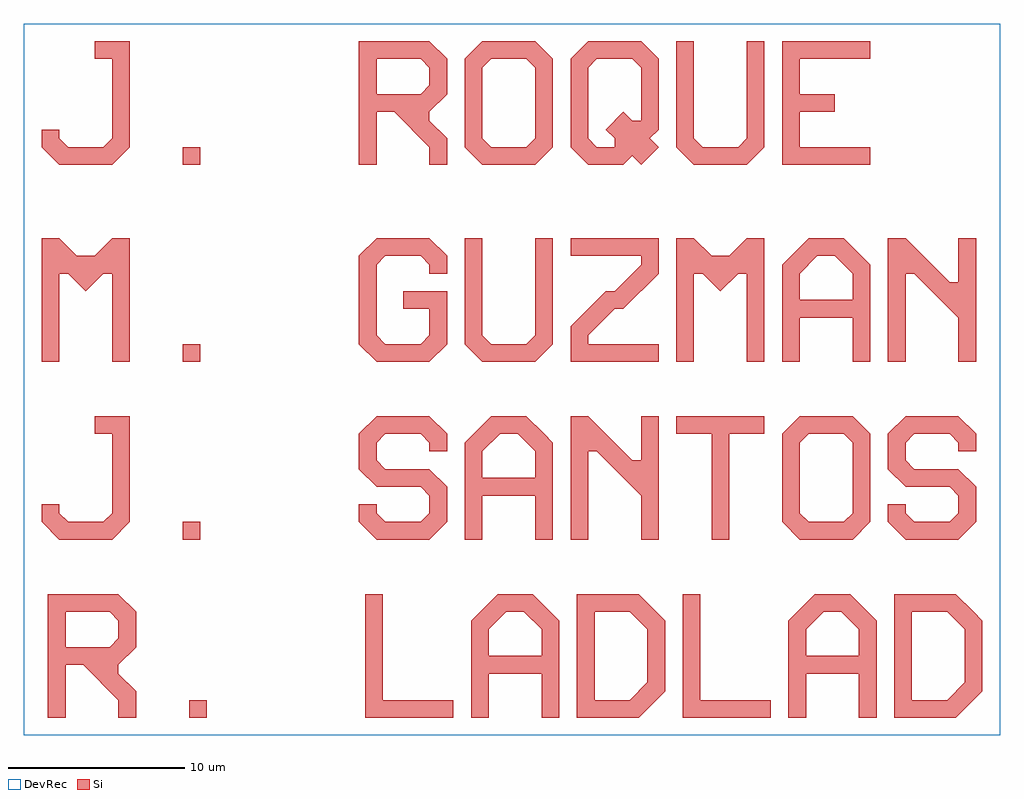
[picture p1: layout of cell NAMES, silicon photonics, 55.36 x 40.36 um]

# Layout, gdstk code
import gdstk
lib = gdstk.Library(unit=1e-6, precision=1e-09)
def R(c, l, rs):  # rectangles x0, y0, x1, y1
    for r in rs: c.add(gdstk.rectangle(r[:2], r[2:], *l))
def P(c, l, *ps):  # polygons
    for p in ps: c.add(gdstk.Polygon(p, *l))
Si = (1, 0)
DevRec = (68, 0)

names = lib.new_cell('NAMES')
R(names, Si, [(8.36,0,9.36,1), (8,10.1,9,11.1), (8,20.19,9,21.19), (8,31.36,9,32.36)])
P(names, Si, [(1,31.36),(0,32.36),(0,33.36),(1,33.36),(1,32.86),(1.5,32.36),(3.5,32.36),(4,32.86),(4,37.36),(3,37.36),(3,38.36),(5,38.36),(5,32.36),(4,31.36)],
  [(18,31.36),(18,38.36),(22,38.36),(23,37.36),(19,37.36),(19,35.36),(21.5,35.36),(22,35.86),(22,36.86),(21.5,37.36),(23,37.36),(23,35.36),(22,34.36),(22,33.86),(23,32.86),(23,31.36),(22,31.36),(22,32.36),(20,34.36),(19,34.36),(19,31.36)],
  [(25,31.36),(24,32.36),(24,37.36),(25,38.36),(28,38.36),(29,37.36),(29,34.86),(28,34.86),(28,36.86),(27.5,37.36),(25.5,37.36),(25,36.86),(25,32.86),(25.5,32.36),(27.5,32.36),(28,32.86),(28,34.86),(29,34.86),(29,32.36),(28,31.36)],
  [(31,31.36),(30,32.36),(30,37.36),(31,38.36),(34,38.36),(35,37.36),(31.5,37.36),(31,36.86),(31,32.86),(31.5,32.36),(32.5,32.36),(32.5,32.86),(32,33.36),(33,34.36),(33.5,33.86),(34,33.86),(34,36.86),(33.5,37.36),(35,37.36),(35,33.36),(34.5,32.86),(35,32.36),(34,31.36),(33.5,31.86),(33,31.36)],
  [(37,31.36),(36,32.36),(36,38.36),(37,38.36),(37,32.86),(37.5,32.36),(39.5,32.36),(40,32.86),(40,38.36),(41,38.36),(41,32.36),(40,31.36)],
  [(42,31.36),(42,38.36),(47,38.36),(47,37.36),(43,37.36),(43,35.36),(45,35.36),(45,34.36),(43,34.36),(43,32.36),(47,32.36),(47,31.36)],
  [(0,20.19),(0,27.19),(1,27.19),(2,26.19),(3,26.19),(4,27.19),(5,27.19),(5,20.19),(4,20.19),(4,25.19),(3.5,25.19),(2.5,24.19),(1.5,25.19),(1,25.19),(1,20.19)],
  [(19,20.19),(18,21.19),(18,26.19),(19,27.19),(22,27.19),(23,26.19),(23,25.19),(22,25.19),(22,25.69),(21.5,26.19),(19.5,26.19),(19,25.69),(19,21.69),(19.5,21.19),(21.5,21.19),(22,21.69),(22,23.19),(20.5,23.19),(20.5,24.19),(23,24.19),(23,21.19),(22,20.19)],
  [(25,20.19),(24,21.19),(24,27.19),(25,27.19),(25,21.69),(25.5,21.19),(27.5,21.19),(28,21.69),(28,27.19),(29,27.19),(29,21.19),(28,20.19)],
  [(30,20.19),(30,22.19),(32,24.19),(32.5,24.19),(34,25.69),(34,26.19),(30,26.19),(30,27.19),(35,27.19),(35,25.19),(33,23.19),(32.5,23.19),(31,21.69),(31,21.19),(35,21.19),(35,20.19)],
  [(36,20.19),(36,27.19),(37,27.19),(38,26.19),(39,26.19),(40,27.19),(41,27.19),(41,20.19),(40,20.19),(40,25.19),(39.5,25.19),(38.5,24.19),(37.5,25.19),(37,25.19),(37,20.19)],
  [(42,20.19),(42,25.69),(43.5,27.19),(45.5,27.19),(46.5,26.19),(44,26.19),(43,25.19),(43,23.69),(46,23.69),(46,25.19),(45,26.19),(46.5,26.19),(47,25.69),(47,20.19),(46,20.19),(46,22.69),(43,22.69),(43,20.19)],
  [(48,20.19),(48,27.19),(49,27.19),(51.5,24.69),(52,24.69),(52,27.19),(53,27.19),(53,20.19),(52,20.19),(52,22.69),(49.5,25.19),(49,25.19),(49,20.19)],
  [(1,10.1),(0,11.1),(0,12.1),(1,12.1),(1,11.6),(1.5,11.1),(3.5,11.1),(4,11.6),(4,16.1),(3,16.1),(3,17.1),(5,17.1),(5,11.1),(4,10.1)],
  [(19,10.1),(18,11.1),(18,12.1),(19,12.1),(19,11.6),(19.5,11.1),(21.5,11.1),(22,11.6),(22,12.6),(21.5,13.1),(19,13.1),(18,14.1),(18,16.1),(19,17.1),(22,17.1),(23,16.1),(23,15.1),(22,15.1),(22,15.6),(21.5,16.1),(19.5,16.1),(19,15.6),(19,14.6),(19.5,14.1),(22,14.1),(23,13.1),(23,11.1),(22,10.1)],
  [(24,10.1),(24,15.6),(25.5,17.1),(27.5,17.1),(28.5,16.1),(26,16.1),(25,15.1),(25,13.6),(28,13.6),(28,15.1),(27,16.1),(28.5,16.1),(29,15.6),(29,10.1),(28,10.1),(28,12.6),(25,12.6),(25,10.1)],
  [(30,10.1),(30,17.1),(31,17.1),(33.5,14.6),(34,14.6),(34,17.1),(35,17.1),(35,10.1),(34,10.1),(34,12.6),(31.5,15.1),(31,15.1),(31,10.1)],
  [(38,10.1),(38,16.1),(36,16.1),(36,17.1),(41,17.1),(41,16.1),(39,16.1),(39,10.1)],
  [(43,10.1),(42,11.1),(42,16.1),(43,17.1),(46,17.1),(47,16.1),(47,13.6),(46,13.6),(46,15.6),(45.5,16.1),(43.5,16.1),(43,15.6),(43,11.6),(43.5,11.1),(45.5,11.1),(46,11.6),(46,13.6),(47,13.6),(47,11.1),(46,10.1)],
  [(49,10.1),(48,11.1),(48,12.1),(49,12.1),(49,11.6),(49.5,11.1),(51.5,11.1),(52,11.6),(52,12.6),(51.5,13.1),(49,13.1),(48,14.1),(48,16.1),(49,17.1),(52,17.1),(53,16.1),(53,15.1),(52,15.1),(52,15.6),(51.5,16.1),(49.5,16.1),(49,15.6),(49,14.6),(49.5,14.1),(52,14.1),(53,13.1),(53,11.1),(52,10.1)],
  [(0.36,0),(0.36,7),(4.36,7),(5.36,6),(1.36,6),(1.36,4),(3.86,4),(4.36,4.5),(4.36,5.5),(3.86,6),(5.36,6),(5.36,4),(4.36,3),(4.36,2.5),(5.36,1.5),(5.36,0),(4.36,0),(4.36,1),(2.36,3),(1.36,3),(1.36,0)],
  [(18.36,0),(18.36,7),(19.36,7),(19.36,1),(23.36,1),(23.36,0)],
  [(24.36,0),(24.36,5.5),(25.86,7),(27.86,7),(28.86,6),(26.36,6),(25.36,5),(25.36,3.5),(28.36,3.5),(28.36,5),(27.36,6),(28.86,6),(29.36,5.5),(29.36,0),(28.36,0),(28.36,2.5),(25.36,2.5),(25.36,0)],
  [(30.36,0),(30.36,7),(33.86,7),(34.86,6),(31.36,6),(31.36,1),(33.36,1),(34.36,2),(34.36,5),(33.36,6),(34.86,6),(35.36,5.5),(35.36,1.5),(33.86,0)],
  [(36.36,0),(36.36,7),(37.36,7),(37.36,1),(41.36,1),(41.36,0)],
  [(42.36,0),(42.36,5.5),(43.86,7),(45.86,7),(46.86,6),(44.36,6),(43.36,5),(43.36,3.5),(46.36,3.5),(46.36,5),(45.36,6),(46.86,6),(47.36,5.5),(47.36,0),(46.36,0),(46.36,2.5),(43.36,2.5),(43.36,0)],
  [(48.36,0),(48.36,7),(51.86,7),(52.86,6),(49.36,6),(49.36,1),(51.36,1),(52.36,2),(52.36,5),(51.36,6),(52.86,6),(53.36,5.5),(53.36,1.5),(51.86,0)])
R(names, DevRec, [(-1,-1,54.36,39.36)])

lib.write_gds('NAMES.gds')
